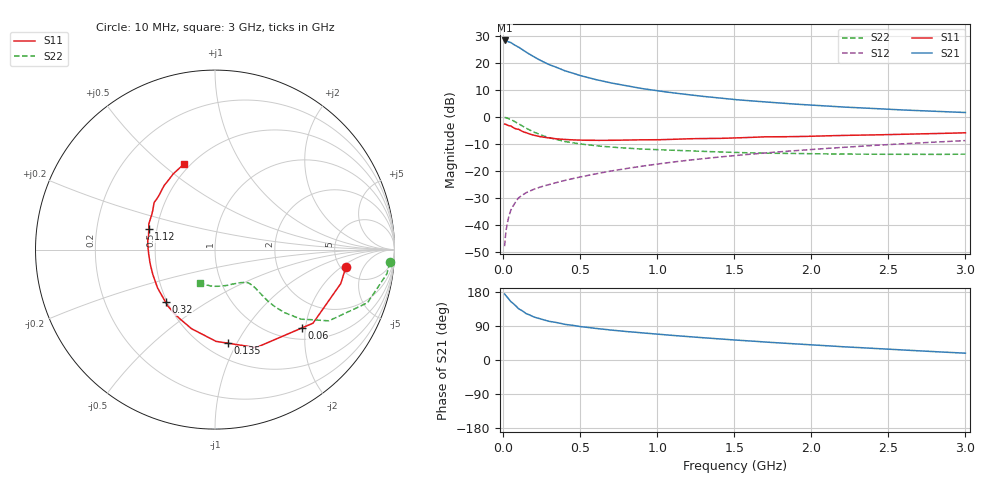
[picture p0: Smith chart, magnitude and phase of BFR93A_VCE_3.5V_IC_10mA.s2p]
! Infineon Technologies  Discrete & RF Semiconductors
! BFR93A
! VCE =  3.5 V,  IC =  10 mA
! Common Emitter S-Parameters:  Nov 2015
# GHz  S  MA  R  50
!  f  S11  S21  S12  S22
! GHz  MAG  ANG  MAG  ANG  MAG  ANG  MAG  ANG
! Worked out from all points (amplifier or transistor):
!   180 points, 10 MHz to 3 GHz, reference 50 ohm
!   highest |S21| = 28.2 dB at 10 MHz (marker M1)
!   |S21| within 3 dB of that: start of sweep to 114.5 MHz
!   unconditionally stable (mu >= 1): 569.9 MHz to 2.799 GHz
!   at 160 MHz: K = 0.51, MSG = 25.6 dB, |S12| = -27.7 dB
!   at 1.22 GHz: K = 1.09, MAG = 10.1 dB, |S12| = -15.9 dB
!   at 3 GHz: K = 0.98, MSG = 5.2 dB, |S12| = -8.8 dB
!   S11 on the Smith chart (normalised r, x): 10 MHz: 5.52, -2.37; 60 MHz: 1.25, -1.91; 135 MHz: 0.64, -0.92; 320 MHz: 0.49, -0.34; 1.12 GHz: 0.45, +0.12; 3 GHz: 0.46, +0.60
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0.01  0.7355 -7.7  25.82 174.2  0.0041 86.4  0.9781 -4.2
0.02  0.7259 -15.1  25.48 169.0  0.0082 82.6  0.9665 -8.1
0.05  0.6828 -36.9  23.65 154.2  0.0188 72.8  0.9 -19.2
0.06  0.6512 -42.2  22.64 151.0  0.0214 69.9  0.8666 -21.4
0.1  0.5922 -67.2  19.48 135.5  0.0319 63.0  0.7484 -32.0
0.135  0.5266 -82.1  16.69 127.0  0.0375 59.0  0.6553 -36.5
0.15  0.5112 -89.4  15.64 122.4  0.0399 57.6  0.6169 -38.9
0.2  0.4596 -106.6  12.84 113.5  0.0461 56.2  0.5241 -42.2
0.24  0.4321 -117.1  11.16 108.4  0.0505 55.8  0.4714 -43.4
0.26  0.423 -121.8  10.45 106.0  0.0526 55.9  0.4489 -43.8
0.3  0.4098 -130.0  9.23 102.0  0.0565 56.4  0.4119 -44.2
0.32  0.4023 -133.1  8.798 100.7  0.0586 56.8  0.3998 -44.2
0.4  0.3847 -146.3  7.125 94.2  0.0671 58.2  0.3515 -44.1
0.52  0.3717 -160.2  5.63 87.4  0.0798 59.9  0.3121 -43.6
0.7  0.3699 -174.8  4.242 79.0  0.1001 61.6  0.2773 -44.0
0.9  0.3779 172.8  3.346 71.7  0.1228 62.0  0.2548 -46.0
1.02  0.3793 167.1  2.985 67.5  0.1369 61.7  0.2468 -47.7
1.12  0.3868 162.5  2.744 64.3  0.1488 61.4  0.24 -49.8
1.52  0.4098 147.8  2.072 52.4  0.1949 58.9  0.2202 -59.3
2.02  0.4405 133.4  1.639 39.5  0.2524 54.7  0.2084 -74.7
2.52  0.4736 121.4  1.376 28.1  0.3105 49.3  0.204 -92.7
3  0.5087 109.7  1.205 18.0  0.3651 43.6  0.2057 -113.7
